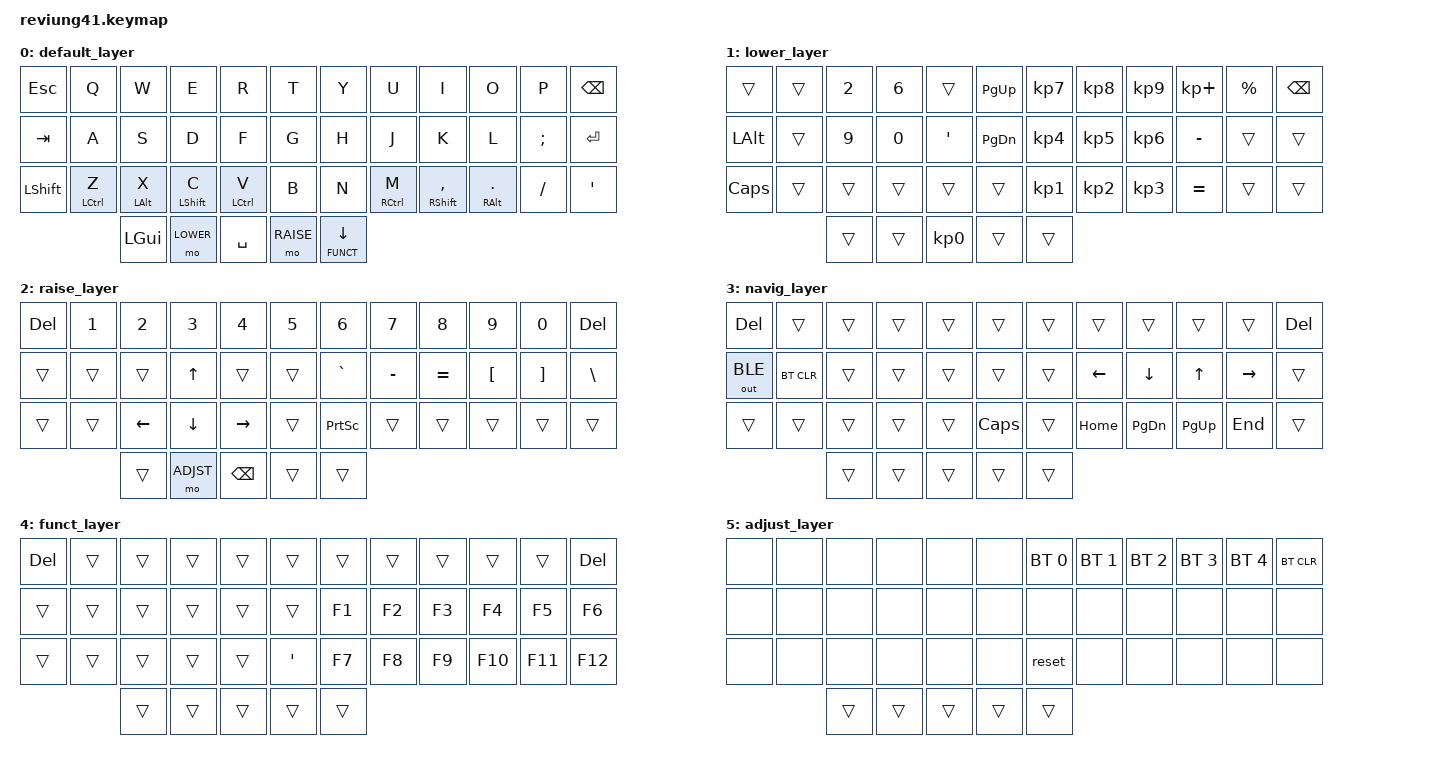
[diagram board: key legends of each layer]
/*
 * Copyright (c) 2020 The ZMK Contributors
 *
 * SPDX-License-Identifier: MIT
 */

#include <behaviors.dtsi>
#include <dt-bindings/zmk/keys.h>
#include <dt-bindings/zmk/bt.h>
#define BT_CLR_CMD 0
#include <dt-bindings/zmk/rgb.h>
#include <dt-bindings/zmk/outputs.h>
#define OUT_BLE 2

#define DEFAULT 0
#define LOWER   1
#define RAISE   2
#define NAVIG   3
#define FUNCT   4
#define ADJST   5

/ {
    behaviors {
        hm: homerow_mods {
            compatible = "zmk,behavior-hold-tap";
            label = "HOMEROW_MODS";
            #binding-cells = <2>;
            tapping-term-ms = <150>;
            quick_tap_ms = <0>;
            flavor = "tap-preferred";
            bindings = <&kp>, <&kp>;
        };
    };

        keymap {
                compatible = "zmk,keymap";

                default_layer {
// --------------------------------------------------------------------------------------
// |  TAB |  Q   |  W   |  E   |  R   |  T  |   |  Y  |  U   |  I   |  O   |  P  | BKSP |
// | CTRL |  A   |  S   |  D   |  F   |  G  |   |  H  |  J   |  K   |  L   |  ;  |   '  |
// | SHFT |CTL(Z)|ALT(X)|SFT(C)|CTL(V)|  B  |   |  N  |CTL(M)|SFT(,)|ALT(.)|  /  |RETURN|
//                         | LGUI | LWR |  SPACE  | RSE | FUNC |
                       bindings = <
   &kp ESC   &kp Q       &kp W      &kp E       &kp R       &kp T   &kp Y &kp U        &kp I           &kp O        &kp P    &kp BSPC
   &kp TAB   &kp A       &kp S      &kp D       &kp F       &kp G   &kp H &kp J        &kp K           &kp L        &kp SEMI &kp RET
   &kp LSHFT &hm LCTRL Z &hm LALT X &hm LSHFT C &hm LCTRL V &kp B   &kp N &hm RCTRL M  &hm RSHFT COMMA &hm RALT DOT &kp FSLH &kp SQT
                        &kp LGUI  &mo LOWER &kp SPACE &mo RAISE  &lt FUNCT DOWN
                        >;
                };

                lower_layer {
// -----------------------------------------------------------------------------
// | DEL |  !  |  @  |  #  |  $  |  %  |   |  ^  |  &  |  *  |  (  |  )  | DEL |
// |     |     |     |     |     |     |   |  ~  |  _  |  +  |  {  |  }  | "|" |
// |     |     | GUI |     |     | CAPS|   | PRSC|     |     |     |     |     |
//                       |     |     | RET | ADJ |     |
                        bindings = <
   &trans  &trans  &kp N2    &kp N6   &trans   &kp PG_UP      &kp KP_N7    &kp KP_N8  &kp KP_N9 &kp KP_PLUS  &kp PRCNT  &kp BSPC
   &kp LALT  &trans &kp N9  &kp N0   &kp SQT    &kp PG_DN      &kp KP_N4    &kp KP_N5  &kp KP_N6 &kp MINUS    &trans  &trans
   &kp CAPS  &trans    &trans     &trans   &trans   &trans         &kp KP_N1    &kp KP_N2  &kp KP_N3 &kp EQUAL    &trans  &trans
                                   &trans    &trans    &kp KP_N0    &trans   &trans        
                              
                              >;
                };

                raise_layer {
// -----------------------------------------------------------------------------
// | DEL |  1  |  2  |  3  |  4  |  5  |   |  6  |  7  |  8  |  9  |  0  | DEL |
// |     |     |     |     |     |     |   |  `  |  -  |  =  |  [  |  ]  |  \  |
// |     |     | GUI |     |     | CAPS|   | PRSC|     |     |     |     |     |
//                       |     | ADJ | BKSP |    |     |
                        bindings = <
   &kp DEL &kp N1 &kp N2   &kp N3 &kp N4 &kp N5      &kp N6 &kp N7  &kp N8   &kp N9  &kp N0  &kp DEL
   &trans  &trans   &trans   &kp UP  &trans   &trans         &kp GRAVE &kp MINUS &kp EQUAL &kp LBKT  &kp RBKT  &kp BSLH
   &trans  &trans   &kp LEFT &kp DOWN   &kp RIGHT   &trans       &kp PSCRN &trans    &trans    &trans    &trans    &trans
                                   &trans  &mo ADJST &kp BSPC &trans  &trans
                        >;
                };

                navig_layer {
// -----------------------------------------------------------------------------
// | DEL |     |     |     |     |     |   |     |     |     |     |     | DEL |
// |     |     |     |     |     |     |   |     |LEFT |DOWN | UP  |RIGHT|     |
// |     |     |     |     |     |CAPS |   |     |HOME |PG-DN|PG-UP| END |     |
//                        |     |     |     |     |     |
                        bindings = <
   &kp DEL &trans  &trans   &trans   &trans   &trans      &trans  &trans   &trans    &trans    &trans    &kp DEL
   &out OUT_BLE  &bt BT_CLR   &trans   &trans   &trans   &trans      &trans  &kp LEFT &kp DOWN  &kp UP    &kp RIGHT &trans
   &trans  &trans  &trans   &trans   &trans   &kp CLCK    &trans  &kp HOME &kp PG_DN &kp PG_UP &kp END   &trans
                                   &trans   &trans   &trans   &trans   &trans
                        >;
                };

                funct_layer {
// -----------------------------------------------------------------------------
// | DEL |     |     |     |     |     |   |     |     |     |     |     | DEL |
// |     |     |     |     |     |     |   | F1  | F2  | F3  | F4  | F5  | F6  |
// |     |     |     |     |     |  '  |   | F7  | F8  | F9  | F10 | F11 | F12 |
//                        |     |     |     |     |     |
                        bindings = <
   &kp DEL &trans  &trans   &trans   &trans   &trans      &trans    &trans    &trans    &trans    &trans    &kp DEL
   &trans  &trans  &trans   &trans   &trans   &trans      &kp F1    &kp F2    &kp F3    &kp F4    &kp F5    &kp F6
   &trans  &trans  &trans   &trans   &trans   &kp SQT     &kp F7    &kp F8    &kp F9    &kp F10   &kp F11   &kp F12
                                  &trans   &trans   &trans   &trans   &trans
                        >;
                };

                adjust_layer {
// ------------------------------------------------------------------------------
// |     |     |     |     |     |     |   | BT1 | BT2 | BT3 | BT4 | BT5 |BT CLR|
// |     |     |     |     |     |     |   |     |     |     |     |     |      |
// |     |     |     |     |     |     |   |RESET|     |     |     |     |      |
//                        |     |     |     |     |     |
                        bindings = <
   &none   &none   &none   &none   &none   &none      &bt BT_SEL 0 &bt BT_SEL 1 &bt BT_SEL 2 &bt BT_SEL 3 &bt BT_SEL 4 &bt BT_CLR
   &none   &none   &none   &none   &none   &none      &none        &none        &none        &none        &none        &none
   &none   &none   &none   &none   &none   &none      &reset       &none        &none        &none        &none        &none
                       &trans      &trans       &trans        &trans      &trans
                        >;
                };
        };
};
